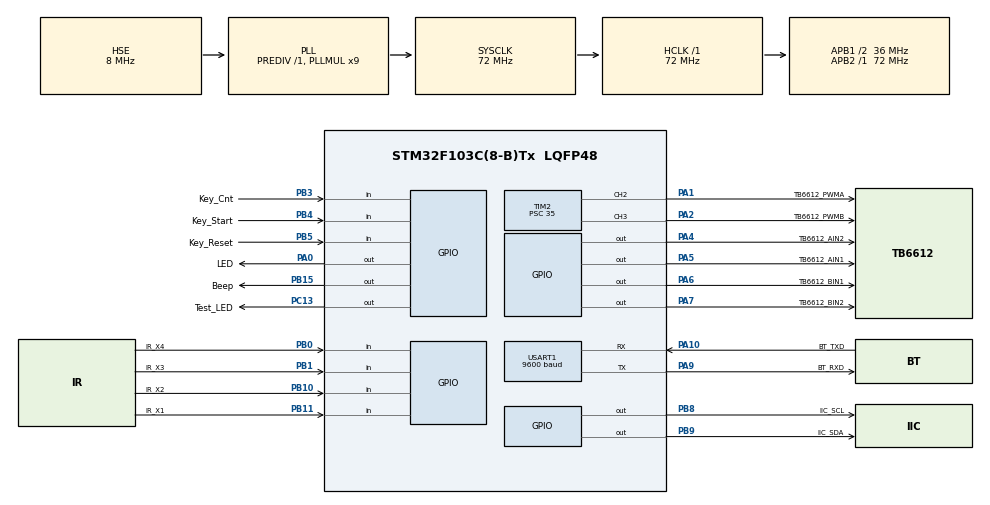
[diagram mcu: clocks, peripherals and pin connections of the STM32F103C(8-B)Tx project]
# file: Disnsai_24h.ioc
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Mcu.Family=STM32F1
Mcu.Name=STM32F103C(8-B)Tx
Mcu.Package=LQFP48
NVIC.PriorityGroup=NVIC_PRIORITYGROUP_4
NVIC.TIM1_UP_IRQn=true\:0\:0\:false\:false\:true\:true\:true\:true
NVIC.USART1_IRQn=true\:0\:0\:false\:false\:true\:true\:true\:true
PA0-WKUP.GPIO_Label=LED
PA0-WKUP.GPIO_PuPd=GPIO_PULLUP
PA0-WKUP.PinState=GPIO_PIN_RESET
PA0-WKUP.Signal=GPIO_Output
PA1.GPIO_Label=TB6612_PWMA
PA1.Signal=S_TIM2_CH2
PA10.GPIO_Label=BT_TXD
PA10.Mode=Asynchronous
PA10.Signal=USART1_RX
PA13.Mode=Serial_Wire
PA13.Signal=SYS_JTMS-SWDIO
PA14.Mode=Serial_Wire
PA14.Signal=SYS_JTCK-SWCLK
PA2.GPIO_Label=TB6612_PWMB
PA2.Signal=S_TIM2_CH3
PA4.GPIO_Label=TB6612_AIN2
PA4.GPIO_ModeDefaultOutputPP=GPIO_MODE_OUTPUT_PP
PA4.Signal=GPIO_Output
PA5.GPIO_Label=TB6612_AIN1
PA5.GPIO_ModeDefaultOutputPP=GPIO_MODE_OUTPUT_PP
PA5.Signal=GPIO_Output
PA6.GPIO_Label=TB6612_BIN1
PA6.GPIO_ModeDefaultOutputPP=GPIO_MODE_OUTPUT_PP
PA6.Signal=GPIO_Output
PA7.GPIO_Label=TB6612_BIN2
PA7.GPIO_ModeDefaultOutputPP=GPIO_MODE_OUTPUT_PP
PA7.Signal=GPIO_Output
PA9.GPIO_Label=BT_RXD
PA9.Mode=Asynchronous
PA9.Signal=USART1_TX
PB0.GPIO_Label=IR_X4
PB0.GPIO_PuPd=GPIO_PULLUP
PB0.Signal=GPIO_Input
PB1.GPIO_Label=IR_X3
PB1.GPIO_PuPd=GPIO_PULLUP
PB1.Signal=GPIO_Input
PB10.GPIO_Label=IR_X2
PB10.GPIO_Mode=GPIO_MODE_INPUT
PB10.GPIO_PuPd=GPIO_PULLUP
PB10.Signal=GPIO_Input
PB11.GPIO_Label=IR_X1
PB11.GPIO_Mode=GPIO_MODE_INPUT
PB11.GPIO_PuPd=GPIO_PULLUP
PB11.Signal=GPIO_Input
PB15.GPIO_Label=Beep
PB15.PinState=GPIO_PIN_SET
PB15.Signal=GPIO_Output
PB3.GPIO_Label=Key_Cnt
PB3.GPIO_PuPd=GPIO_PULLUP
PB3.Signal=GPIO_Input
PB4.GPIO_Label=Key_Start
PB4.GPIO_PuPd=GPIO_PULLUP
PB4.Signal=GPIO_Input
PB5.GPIO_Label=Key_Reset
PB5.GPIO_PuPd=GPIO_PULLUP
PB5.Signal=GPIO_Input
PB8.GPIO_Label=IIC_SCL
PB8.GPIO_ModeDefaultOutputPP=GPIO_MODE_OUTPUT_OD
PB8.GPIO_PuPd=GPIO_PULLUP
PB8.PinState=GPIO_PIN_SET
PB8.Signal=GPIO_Output
PB9.GPIO_Label=IIC_SDA
PB9.GPIO_ModeDefaultOutputPP=GPIO_MODE_OUTPUT_OD
PB9.GPIO_PuPd=GPIO_PULLUP
PB9.PinState=GPIO_PIN_SET
PB9.Signal=GPIO_Output
PC13-TAMPER-RTC.GPIO_Label=Test_LED
PC13-TAMPER-RTC.GPIO_ModeDefaultOutputPP=GPIO_MODE_OUTPUT_PP
PC13-TAMPER-RTC.GPIO_PuPd=GPIO_PULLUP
PC13-TAMPER-RTC.PinState=GPIO_PIN_SET
PC13-TAMPER-RTC.Signal=GPIO_Output
PD0-OSC_IN.Mode=HSE-External-Oscillator
PD0-OSC_IN.Signal=RCC_OSC_IN
PD1-OSC_OUT.Mode=HSE-External-Oscillator
PD1-OSC_OUT.Signal=RCC_OSC_OUT
ProjectManager.HeapSize=0x200
ProjectManager.StackSize=0x400
ProjectManager.TargetToolchain=CMake
RCC.AHBFreq_Value=72000000
RCC.APB1CLKDivider=RCC_HCLK_DIV2
RCC.APB1Freq_Value=36000000
RCC.APB1TimFreq_Value=72000000
RCC.APB2Freq_Value=72000000
RCC.APB2TimFreq_Value=72000000
RCC.HCLKFreq_Value=72000000
RCC.PLLMUL=RCC_PLL_MUL9
RCC.PLLSourceVirtual=RCC_PLLSOURCE_HSE
RCC.SYSCLKFreq_VALUE=72000000
RCC.SYSCLKSource=RCC_SYSCLKSOURCE_PLLCLK
RCC.USBFreq_Value=72000000
SH.S_TIM2_CH2.0=TIM2_CH2,PWM Generation2 CH2
SH.S_TIM2_CH3.0=TIM2_CH3,PWM Generation3 CH3
TIM1.Period=9999
TIM1.Prescaler=71
TIM2.Channel-PWM\ Generation2\ CH2=TIM_CHANNEL_2
TIM2.Channel-PWM\ Generation3\ CH3=TIM_CHANNEL_3
TIM2.Period=99
TIM2.Prescaler=35
USART1.BaudRate=9600
USART1.VirtualMode=VM_ASYNC
VP_TIM1_VS_ClockSourceINT.Mode=Internal
VP_TIM2_VS_ClockSourceINT.Mode=Internal
board=custom

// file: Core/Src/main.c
/* USER CODE BEGIN Header */
/**
  ******************************************************************************
  * @file           : main.c
  * @brief          : Main program body
  ******************************************************************************
  * @attention
  *
  * Copyright (c) 2026 STMicroelectronics.
  * All rights reserved.
  *
  * This software is licensed under terms that can be found in the LICENSE file
  * in the root directory of this software component.
  * If no LICENSE file comes with this software, it is provided AS-IS.
  *
  ******************************************************************************
  */
/* USER CODE END Header */
#include "main.h"
#include "tim.h"
#include "usart.h"
#include "gpio.h"

/* USER CODE BEGIN Includes */
#include "Bsp_Config.h"
#include "Software_Config.h"
#include "mpu6050.h"
#include "attitude.h"
#include "line_track.h"
#include "question.h"
#include "yaw_ctrl.h"
#include "Key.h"
#include "ui.h"
#include "report.h"
/* USER CODE END Includes */

/* USER CODE BEGIN PV */
uint8_t Question_Choose = 1;                /* CNT 选中的题目：1~4          */
uint8_t cur_Question    = 0;                /* 正在执行的题目：0 = 未启动   */
uint32_t e_ui_tick;                         /* OLED 刷新节拍          */
uint32_t e_key_tick;
uint32_t e_ctrl_tick;                       /* 10ms 控制节拍          */
/* USER CODE END PV */

void SystemClock_Config(void);
/* USER CODE BEGIN PFP */
void Control_10ms(void){
  Attitude_Update();

  /* 每 10ms 推进正在执行的题目；完成/超时 -> 停车并回到未启动 */
  switch (cur_Question){
    case 1:
      if (Ques1_Task10ms() != 0U) { cur_Question = 0U; Car_Stop(); }
      break;
    case 2:
      if (Ques2_Task10ms() != 0U) { cur_Question = 0U; Car_Stop(); }
      break;
    case 3:
      if (Ques3_Task10ms() != 0U) { cur_Question = 0U; Car_Stop(); }
      break;
    case 4:
      if (Ques4_Task10ms() != 0U) { cur_Question = 0U; Car_Stop(); }
      break;
    default: break;                        /* 0 = 未启动，什么都不做 */
  }
}
/* USER CODE END PFP */

int main(void)
{

  /* MCU Configuration--------------------------------------------------------*/

  /* Reset of all peripherals, Initializes the Flash interface and the Systick. */
  HAL_Init();

  /* Configure the system clock */
  SystemClock_Config();

  /* Initialize all configured peripherals */
  MX_GPIO_Init();
  MX_TIM2_Init();
  MX_USART1_UART_Init();
  MX_TIM1_Init();
  /* USER CODE BEGIN 2 */
  Bsp_Init();                        /* 延时 / 软件 I2C / OLED / LED / 蜂鸣器 / 串口 */
  Sofaware_Init();                   /*姿态解算 / 小车形式 */
  Key_Init();                        /* 三个按键（记录上电瞬间状态） */
  Report_Init();                     /* 串口上报（VOFA+ FireWater） */
  //Ui_Init();                         /* OLED 调参页面（UI_ENABLE=0 时为空函数） */

  /* USER CODE END 2 */

  /* Infinite loop */
  /* USER CODE BEGIN WHILE */
  HAL_TIM_Base_Start_IT(&htim1);  /*启动10ms的全局节拍器*/
  e_ctrl_tick=HAL_GetTick();

  while (1)
  {
    Reminder_Tick();

    if(e_flag_10ms){
      e_flag_10ms=0;
      Control_10ms();
    }
    if((HAL_GetTick()-e_key_tick)>=20U){
      uint8_t ev;

      e_key_tick=HAL_GetTick();
      Key_Scan();                      /* 采样 + 边沿检测（20ms 本身就是消抖） */
      ev = Key_GetEvent();

      if(ev & KEY_CNT){                /* PB3：选题 1→2→3→4→1（只选，不启动） */
        cur_Question = 0U;
        Car_Stop();
        Question_Choose = (uint8_t)((Question_Choose % 4U) + 1U);
      }
      if(ev & KEY_START){              /* PB4：启动 / 停止 */
        if (cur_Question == 0U)
        {
          cur_Question = Question_Choose;
          switch (cur_Question){
            case 1: Ques1_Start();  break;
            case 2: Ques2_Start();  break;
            case 3: Ques3_Start();  break;
            case 4: Ques4_Start();  break;
            default: break;
          }
        }
        else
        {
          cur_Question = 0U;
          Car_Stop();
        }
      }
      if(ev & KEY_RESET){              /* PB5：复位 / 急停 */
        Question_Choose = 1U;
        cur_Question = 0U;
        Car_Stop();
        Attitude_Disable();            /* 停止陀螺解算（不再读 I2C） */
        Attitude_Reset();              /* 清空 yaw / gz / 残差 */
      }
      if(ev != 0U){
        Ui_RefreshNow();               /* 不再蜂鸣，改用屏幕立即反馈 */
      }
    }
    /*数据上报用于调整参数*/
    Report_Task();                   /* 内部按 REPORT_PERIOD_MS 限速 */
    if((HAL_GetTick()-e_ui_tick)>=100U){
      e_ui_tick=HAL_GetTick();
      // Ui_Refresh();                    /* 停车 100ms/行，跑车 500ms/行 */
    }
    /* USER CODE END WHILE */

   }
}

void SystemClock_Config(void)
{
  RCC_OscInitTypeDef RCC_OscInitStruct = {0};
  RCC_ClkInitTypeDef RCC_ClkInitStruct = {0};

  /** Initializes the RCC Oscillators according to the specified parameters
  * in the RCC_OscInitTypeDef structure.
  */
  RCC_OscInitStruct.OscillatorType = RCC_OSCILLATORTYPE_HSE;
  RCC_OscInitStruct.HSEState = RCC_HSE_ON;
  RCC_OscInitStruct.HSEPredivValue = RCC_HSE_PREDIV_DIV1;
  RCC_OscInitStruct.HSIState = RCC_HSI_ON;
  RCC_OscInitStruct.PLL.PLLState = RCC_PLL_ON;
  RCC_OscInitStruct.PLL.PLLSource = RCC_PLLSOURCE_HSE;
  RCC_OscInitStruct.PLL.PLLMUL = RCC_PLL_MUL9;
  if (HAL_RCC_OscConfig(&RCC_OscInitStruct) != HAL_OK)
  {
    Error_Handler();
  }

  /** Initializes the CPU, AHB and APB buses clocks
  */
  RCC_ClkInitStruct.ClockType = RCC_CLOCKTYPE_HCLK|RCC_CLOCKTYPE_SYSCLK
                              |RCC_CLOCKTYPE_PCLK1|RCC_CLOCKTYPE_PCLK2;
  RCC_ClkInitStruct.SYSCLKSource = RCC_SYSCLKSOURCE_PLLCLK;
  RCC_ClkInitStruct.AHBCLKDivider = RCC_SYSCLK_DIV1;
  RCC_ClkInitStruct.APB1CLKDivider = RCC_HCLK_DIV2;
  RCC_ClkInitStruct.APB2CLKDivider = RCC_HCLK_DIV1;

  if (HAL_RCC_ClockConfig(&RCC_ClkInitStruct, FLASH_LATENCY_2) != HAL_OK)
  {
    Error_Handler();
  }
}

void Error_Handler(void)
{
  __disable_irq();
  while (1)
  {
  }
}
